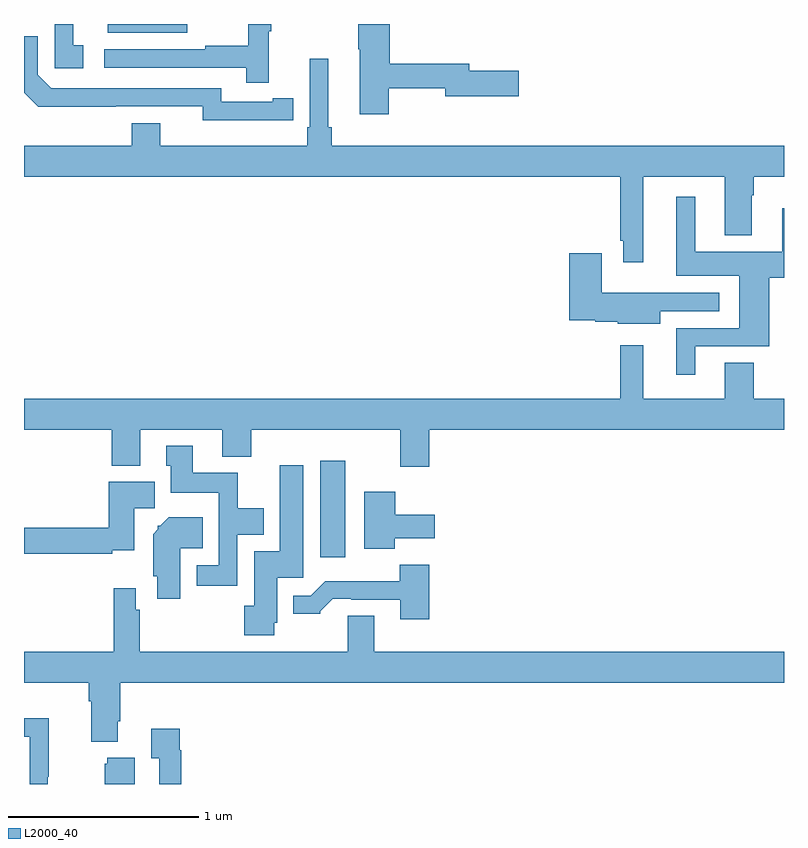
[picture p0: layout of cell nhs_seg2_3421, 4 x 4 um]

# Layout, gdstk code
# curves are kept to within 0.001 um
import gdstk
lib = gdstk.Library(unit=1e-6, precision=1e-09)
def R(c, l, rs):  # rectangles x0, y0, x1, y1
    for r in rs: c.add(gdstk.rectangle(r[:2], r[2:], *l))
def P(c, l, *ps):  # polygons
    for p in ps: c.add(gdstk.Polygon(p, *l))
L2000_40 = (2000, 40)

nhs_seg2_3421 = lib.new_cell('nhs_seg2_3421')
R(nhs_seg2_3421, L2000_40, [(292.559,618.993,292.69,619.501), (291.44,621.755,291.859,621.8)])
P(nhs_seg2_3421, L2000_40, [(292.289,621.763),(292.3,621.763),(292.3,621.8),(292.179,621.8),(292.179,621.686),(291.955,621.686),(291.955,621.666),(291.423,621.666),(291.423,621.57),(292.171,621.57),(292.171,621.492),(292.289,621.492)],
  [(291.313,621.687),(291.26,621.687),(291.26,621.8),(291.162,621.8),(291.162,621.567),(291.313,621.567)],
  [(292.92,621.462),(293.216,621.462),(293.216,621.419),(293.605,621.419),(293.605,621.554),(293.344,621.554),(293.344,621.59),(292.925,621.59),(292.925,621.8),(292.759,621.8),(292.759,621.667),(292.766,621.667),(292.766,621.324),(292.92,621.324)],
  [(292.31,621.294),(292.418,621.294),(292.418,621.41),(292.31,621.41),(292.31,621.39),(292.038,621.39),(292.038,621.462),(291.144,621.462),(291.072,621.534),(291.072,621.735),(291,621.735),(291,621.438),(291.074,621.365),(291.942,621.366),(291.942,621.293)],
  [(294.259,620.996),(294.689,620.996),(294.689,620.687),(294.829,620.687),(294.829,620.9),(294.842,620.9),(294.842,620.996),(295,620.996),(295,621.16),(292.619,621.16),(292.619,621.256),(292.6,621.256),(292.6,621.616),(292.503,621.616),(292.503,621.256),(292.49,621.256),(292.49,621.16),(291.718,621.16),(291.718,621.277),(291.566,621.277),(291.566,621.16),(291,621.16),(291,620.996),(294.138,620.996),(294.138,620.659),(294.155,620.659),(294.155,620.547),(294.259,620.547)],
  [(294.532,620.103),(294.923,620.103),(294.923,620.465),(295,620.465),(295,620.83),(294.992,620.83),(294.992,620.602),(294.532,620.602),(294.532,620.89),(294.434,620.89),(294.434,620.474),(294.764,620.474),(294.764,620.199),(294.434,620.199),(294.434,619.953),(294.532,619.953)],
  [(294.349,620.289),(294.658,620.289),(294.658,620.385),(294.345,620.385),(294.345,620.386),(294.04,620.386),(294.04,620.593),(293.87,620.593),(293.87,620.24),(294.006,620.24),(294.006,620.233),(294.126,620.233),(294.126,620.222),(294.349,620.222)],
  [(293.132,619.664),(295,619.664),(295,619.828),(294.842,619.828),(294.842,620.018),(294.689,620.018),(294.689,619.828),(294.259,619.828),(294.259,620.11),(294.138,620.11),(294.138,619.828),(291,619.828),(291,619.664),(291.461,619.664),(291.461,619.475),(291.613,619.475),(291.613,619.664),(292.043,619.664),(292.043,619.523),(292.196,619.523),(292.196,619.664),(292.979,619.664),(292.979,619.47),(293.132,619.47)],
  [(292.122,619.112),(292.261,619.112),(292.261,619.252),(292.125,619.252),(292.125,619.438),(291.889,619.438),(291.889,619.579),(291.749,619.579),(291.749,619.476),(291.773,619.476),(291.773,619.334),(292.026,619.334),(292.026,618.951),(291.909,618.951),(291.909,618.843),(292.122,618.843)],
  [(292.317,618.648),(292.333,618.648),(292.333,618.885),(292.471,618.885),(292.471,619.477),(292.346,619.477),(292.346,619.024),(292.211,619.024),(292.211,618.738),(292.16,618.738),(292.16,618.582),(292.317,618.582)],
  [(291.464,619.031),(291.58,619.031),(291.58,619.251),(291.688,619.251),(291.688,619.39),(291.446,619.39),(291.446,619.148),(291,619.148),(291,619.012),(291.464,619.012)],
  [(292.952,619.094),(293.161,619.094),(293.161,619.216),(292.954,619.216),(292.954,619.339),(292.79,619.339),(292.79,619.037),(292.952,619.037)],
  [(291.823,619.04),(291.941,619.04),(291.941,619.204),(291.763,619.204),(291.717,619.158),(291.705,619.158),(291.705,619.14),(291.68,619.115),(291.68,618.894),(291.701,618.894),(291.701,618.774),(291.823,618.774)],
  [(293.132,618.955),(292.977,618.955),(292.977,618.868),(292.585,618.868),(292.509,618.792),(292.418,618.792),(292.418,618.695),(292.56,618.695),(292.56,618.71),(292.624,618.774),(292.723,618.774),(292.723,618.771),(292.979,618.771),(292.979,618.666),(293.132,618.666)],
  [(295,618.496),(292.843,618.496),(292.843,618.686),(292.703,618.686),(292.703,618.496),(291.608,618.496),(291.608,618.716),(291.588,618.716),(291.588,618.829),(291.472,618.829),(291.472,618.496),(291,618.496),(291,618.332),(291.341,618.332),(291.341,618.236),(291.353,618.236),(291.353,618.023),(291.493,618.023),(291.493,618.13),(291.506,618.13),(291.506,618.332),(295,618.332)],
  [(291.126,617.839),(291.129,617.839),(291.129,618.146),(291,618.146),(291,618.048),(291.03,618.048),(291.03,617.8),(291.126,617.8)],
  [(291.827,617.978),(291.82,617.978),(291.82,618.091),(291.671,618.091),(291.671,617.935),(291.711,617.935),(291.711,617.8),(291.827,617.8)],
  [(291.583,617.938),(291.437,617.938),(291.437,617.907),(291.425,617.907),(291.425,617.8),(291.583,617.8)])

lib.write_gds('nhs_seg2_3421.gds')
